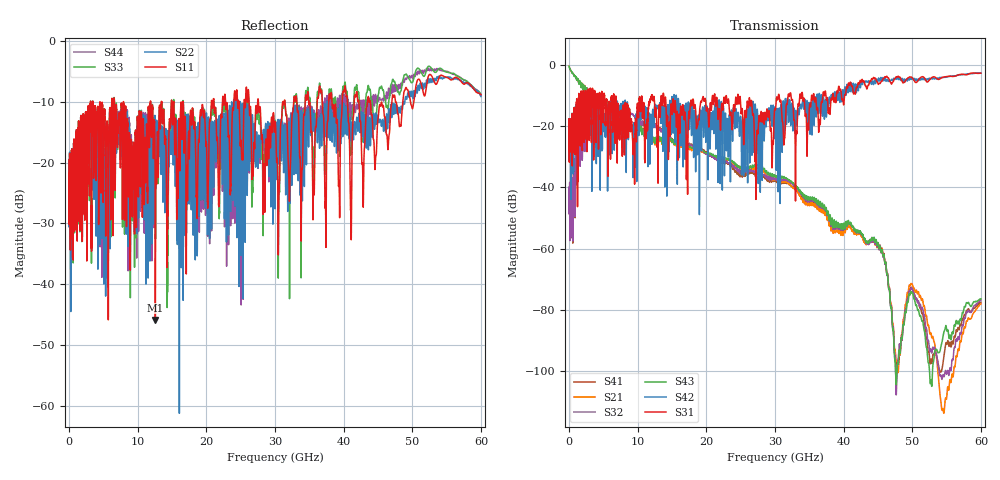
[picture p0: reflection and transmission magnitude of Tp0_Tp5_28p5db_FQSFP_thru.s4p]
!4 port subset of full cascaded channels using these ports:5 37 6 38
# Hz S RI R 50
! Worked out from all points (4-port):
!   6000 points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, 10 MHz to 60 GHz, reference 50 ohm
!   strongest paths, dB at 10 MHz, 15.01 GHz, 30.01 GHz, 45.01 GHz, 60 GHz:
!     S31: -20.0, -15.7, -14.4, -6.2, -2.7
!     S42: -20.0, -10.7, -13.8, -5.2, -2.7
!     S43: -0.5, -25.0, -36.3, -58.0, -76.4
!     S32: -41.4, -24.5, -37.4, -58.2, -76.8
!     S21: -0.5, -25.2, -37.5, -58.3, -77.9
!     S41: -41.4, -24.1, -38.0, -58.1, -77.5
!   lowest |S11| = -45.9 dB at 12.57 GHz (marker M1), VSWR 1.01, Z = 49.6 - j0.33 ohm
!   |S11| at or under -10 dB: 7.932 GHz to 11.86 GHz (3.932 GHz wide, 39.7 % of centre); 16.62 GHz to 20.75 GHz (4.134 GHz wide, 22.1 % of centre); 27.59 GHz to 31.13 GHz (3.542 GHz wide, 12.1 % of centre)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
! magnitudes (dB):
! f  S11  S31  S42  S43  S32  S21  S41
! 10 MHz  -22.0  -20.0  -20.0  -0.5  -41.4  -0.5  -41.4
! 3.33 GHz  -15.7  -10.6  -41.3  -9.3  -22.4  -9.3  -22.4
! 12.57 GHz  -45.9  -16.2  -14.4  -25.6  -19.5  -25.9  -19.4
! 27.27 GHz  -10.8  -31.1  -30.2  -32.8  -35.0  -33.8  -36.2
! 44.47 GHz  -17.9  -4.5  -5.2  -56.6  -57.0  -57.3  -56.9
! 47.28 GHz  -9.2  -5.3  -4.4  -87.7  -87.1  -86.3  -87.1
! 60 GHz  -8.8  -2.7  -2.7  -76.4  -76.8  -77.9  -77.5
